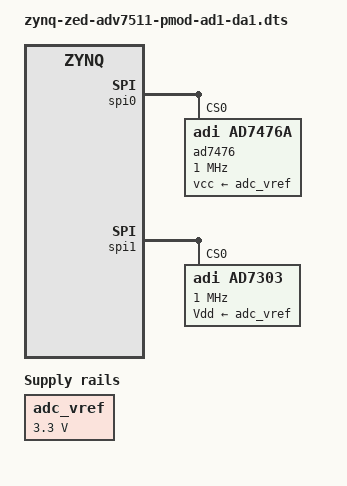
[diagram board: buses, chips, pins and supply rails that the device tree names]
/dts-v1/;

#include "zynq-zed.dtsi"
#include "zynq-zed-adv7511.dtsi"

/ {
	adc_vref: fixedregulator@0 {
		compatible = "regulator-fixed";
		regulator-name = "fixed-supply";
		regulator-min-microvolt = <3300000>;
		regulator-max-microvolt = <3300000>;
		regulator-boot-on;
	};
};

&spi0 {
	ad7476@0 {
		compatible = "adi,ad7476a";
		reg = <0>;
		spi-max-frequency = <1000000>;
		spi-cpha;
		spi-cpol;
		vcc-supply = <&adc_vref>;
	};
};
		
&spi1 {
	ad7303@0 {
		compatible = "adi,ad7303";
		reg = <0>;
		spi-max-frequency = <1000000>;
		Vdd-supply = <&adc_vref>;
	};
};
